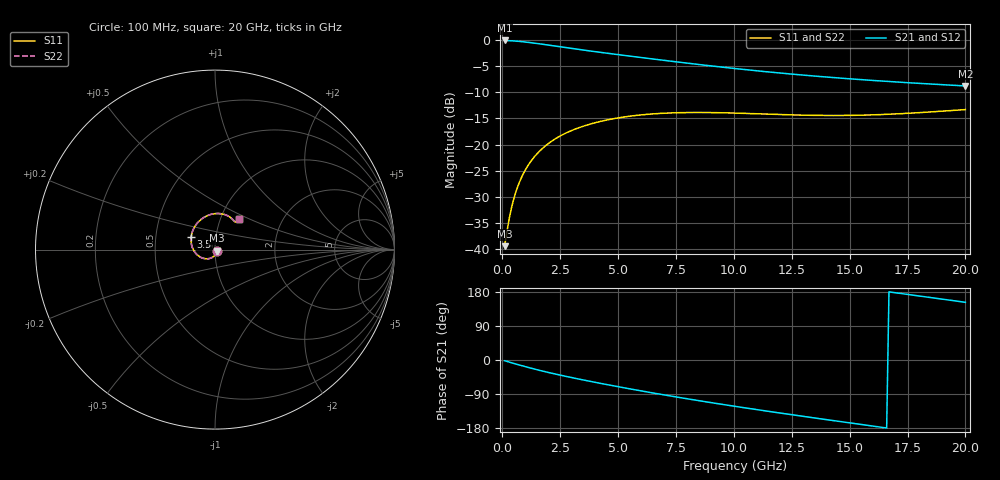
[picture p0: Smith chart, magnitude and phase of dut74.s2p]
! Touchstone file exported from HFSS 2023.1.0
!  File:  D:/Users/fzz/RDL_TSV/temp_RDL_TSV_74_1778747157.aedt
!  Generated:  4:36:42 %x4E0B%x5348  5%x6708 14, 2026
!  Design:  RDL_TSV
!  Project:  temp_RDL_TSV_74_1778747157
!  Setup:  Setup1
!  Solution:  Sweep
! Variables:
!  dtsv = 11.57um
!  hbump = 3um
!  htsv = 89.86um
!  ldown = 222.88um
!  lrdl = 564.37um
!  p = 40
!  p1 = 40.71um
!  rhole = 10um
!  subl = 2926.12um
!  t = 450um
!  tdown = 3.61um
!  trdl = 4.72um
!  viad = 10um
!  wdown = 20.75um
!  wrdl = 27.11um
!  xbump = 18um
# GHz S MA R 50.000000
! Terminal data exported
! Port[1] = TM1_1_T1
! Port[2] = TM1_4_T1
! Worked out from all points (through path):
!   200 points, 100 MHz to 20 GHz, reference 50 ohm
!   highest |S21| = -0.11 dB at 100 MHz (marker M1); lowest = -8.8 dB at 20 GHz (marker M2)
!   group delay of S21, straight-line fit = 27.4 ps
!   lowest |S11| = -39.4 dB at 100 MHz (marker M3), VSWR 1.02, Z = 50.9 - j0.582 ohm
!   |S11| at or under -10 dB: start of sweep to end of sweep
!   |S22| runs from -39.4 to -13.3 dB; largest |S21 - S12| = 1e-14
!   S11 on the Smith chart (normalised r, x): 100 MHz: 1.02, -0.01; 3.5 GHz: 0.76, +0.11; 20 GHz: 1.23, +0.43
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0.1  0.01069 -32.3  0.9876 -1.9  0.9876 -1.9  0.01069 -32.7
! Gamma 0 0 0 0
! Port Impedance 50 0 50 0
0.3  0.01967 -70.3  0.9828 -5.5  0.9828 -5.5  0.01976 -70.6
0.4  0.02504 -81.5  0.98 -7.3  0.98 -7.3  0.02518 -81.7
0.5  0.03053 -90.3  0.9767 -9.1  0.9767 -9.1  0.03072 -90.5
0.6  0.03604 -97.8  0.9731 -10.8  0.9731 -10.8  0.03628 -97.9
0.8  0.04691 -110.4  0.9644 -14.3  0.9644 -14.3  0.04724 -110.5
1.1  0.06252 -126.1  0.9485 -19.3  0.9485 -19.3  0.06296 -126.1
1.5  0.08164 -143.9  0.9239 -25.6  0.9239 -25.6  0.08218 -144.0
2.1  0.1065 -166.7  0.8843 -34.5  0.8843 -34.5  0.1071 -166.7
2.8  0.1304 171.0  0.8398 -43.9  0.8398 -43.9  0.131 171.0
3.5  0.1498 152.3  0.7991 -52.7  0.7991 -52.7  0.1505 152.3
4.2  0.1656 136.4  0.762 -61.2  0.762 -61.2  0.1662 136.5
5  0.1797 121.0  0.723 -70.4  0.723 -70.4  0.1802 121.1
5.9  0.1911 106.6  0.6824 -80.5  0.6824 -80.5  0.1915 106.6
6.8  0.1982 94.5  0.6448 -90.2  0.6448 -90.2  0.1986 94.6
8.4  0.2026 78.1  0.5848 -106.5  0.5848 -106.5  0.2028 78.2
10.1  0.1997 66.2  0.5309 -122.8  0.5309 -122.8  0.1999 66.3
11.7  0.1944 59.2  0.4891 -137.3  0.4891 -137.3  0.1946 59.3
13.4  0.1901 55.2  0.4527 -152.2  0.4527 -152.2  0.1904 55.3
15  0.1899 53.6  0.4248 -165.9  0.4248 -165.9  0.1902 53.7
16.7  0.1948 53.0  0.4002 179.8  0.4002 179.8  0.1951 53.1
20  0.2158 51.1  0.3633 152.3  0.3633 152.3  0.2163 51.2
